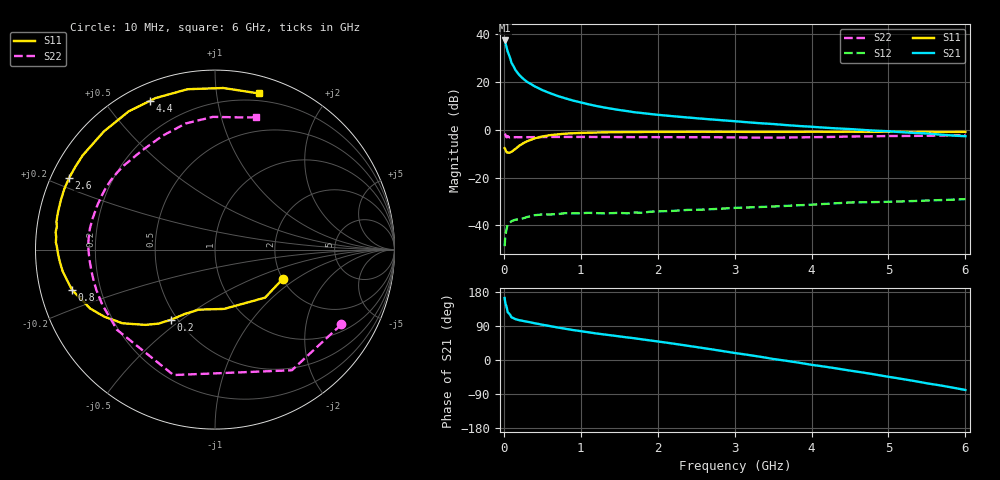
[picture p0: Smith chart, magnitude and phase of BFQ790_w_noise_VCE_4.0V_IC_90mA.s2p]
! Infineon Technologies  Discrete & RF Semiconductors
! BFQ790
! VCE =  4.0 V,  IC =  90 mA
! Common Emitter S-Parameters:  May 2015
# GHz  S  MA  R  50
!  f  S11  S21  S12  S22
! GHz  MAG  ANG  MAG  ANG  MAG  ANG  MAG  ANG
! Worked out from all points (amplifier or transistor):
!   77 points, 10 MHz to 6 GHz, reference 50 ohm
!   highest |S21| = 37.3 dB at 10 MHz (marker M1)
!   |S21| within 3 dB of that: start of sweep to 36.73 MHz
!   unconditionally stable (mu >= 1): 237.5 MHz to 359 MHz; 1.191 GHz to end of sweep
!   at 130 MHz: K = 0.75, MSG = 32.1 dB, |S12| = -37.9 dB
!   at 2.2 GHz: K = 1.22, MAG = 16.9 dB, |S12| = -33.9 dB
!   at 6 GHz: K = 1.32, MAG = 9.8 dB, |S12| = -29.0 dB
!   lowest NFmin = 2.52 dB at 1.5 GHz
!   S11 on the Smith chart (normalised r, x): 10 MHz: 2.01, -0.79; 200 MHz: 0.46, -0.46; 800 MHz: 0.10, -0.14; 2.6 GHz: 0.05, +0.23; 4.4 GHz: 0.07, +0.65; 6 GHz: 0.14, +1.31
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0.01  0.4116 -23.3  73.02 163.8  0.0037 56.3  0.8186 -30.6
0.02  0.3867 -43.8  65.72 149.7  0.0063 55.3  0.797 -57.5
0.05  0.3343 -81.3  42.63 125.8  0.0105 33.7  0.7361 -108.3
0.1  0.3466 -105.2  24.86 112.4  0.0123 20.8  0.7056 -140.7
0.15  0.3966 -115.2  17.66 107.8  0.0132 19.8  0.6989 -154.1
0.2  0.4612 -122.1  13.91 105.0  0.0134 18.9  0.6983 -161.3
0.25  0.5193 -127.4  11.63 103.1  0.0141 18.2  0.6979 -166.0
0.3  0.5706 -132.7  10.04 101.1  0.015 14.8  0.6984 -169.4
0.4  0.6593 -141.5  8.045 97.0  0.0164 14.8  0.7007 -174.3
0.5  0.7206 -148.7  6.718 93.1  0.017 11.3  0.7031 -177.9
0.6  0.7689 -154.7  5.787 89.5  0.017 9.9  0.7058 179.2
0.7  0.7978 -160.0  5.059 85.8  0.0173 9.8  0.7065 176.8
0.8  0.8271 -164.2  4.52 82.4  0.0181 5.3  0.7069 174.9
1.1  0.8662 -175.1  3.394 73.1  0.0184 4.2  0.7064 169.7
1.5  0.8874 175.5  2.579 62.3  0.0184 2.5  0.7015 164.3
2.1  0.9002 164.2  1.978 46.2  0.0199 0.0  0.6987 155.9
2.6  0.9055 153.8  1.687 31.2  0.0215 -2.5  0.6975 146.8
3.1  0.902 142.3  1.459 15.7  0.0236 -9.0  0.6884 135.7
4.1  0.9053 119.9  1.123 -15.5  0.0278 -19.1  0.7005 112.4
4.4  0.9046 113.5  1.05 -24.7  0.0296 -23.5  0.7144 105.4
5.1  0.9021 97.2  0.905 -47.5  0.0316 -36.7  0.7392 88.8
6  0.9038 74.3  0.731 -79.2  0.0355 -54.1  0.7716 72.7
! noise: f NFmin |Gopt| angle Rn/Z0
0.45  3.79  0.38  129  0.39
0.9  2.73  0.52  163  0.14
1.5  2.52  0.64  -176  0.07
1.8  2.64  0.67  -170  0.08
2.6  3.12  0.72  -153  0.19
3.5  3.78  0.82  -137  0.46
